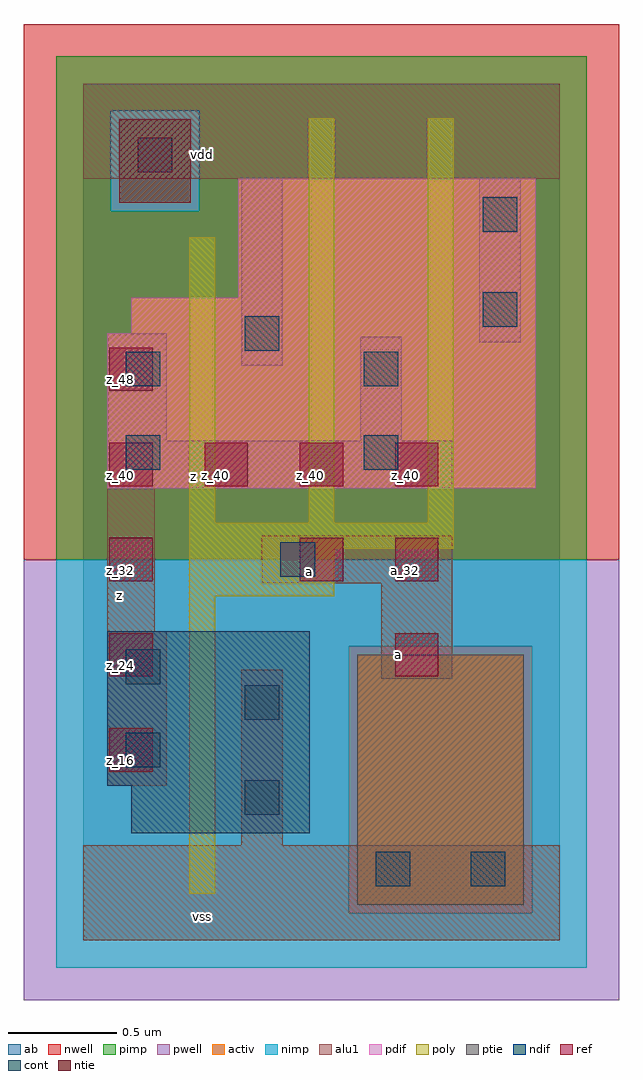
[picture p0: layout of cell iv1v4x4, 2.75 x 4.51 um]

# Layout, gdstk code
import gdstk
lib = gdstk.Library(unit=1e-6, precision=2.5e-09)
def R(c, l, rs):  # rectangles x0, y0, x1, y1
    for r in rs: c.add(gdstk.rectangle(r[:2], r[2:], *l))
def A(c, l, x, y, w, h, nx, ny, dx, dy):  # array of equal rectangles
    R(c, l, [(x+i*dx, y+j*dy, x+i*dx+w, y+j*dy+h) for i in range(nx) for j in range(ny)])
ndif = (3, 0)
pdif = (4, 0)
ntie = (5, 0)
ptie = (6, 0)
ref = (24, 0)
cont = (25, 0)
pwell = (41, 0)
nwell = (42, 0)
activ = (43, 0)
pimp = (44, 0)
nimp = (45, 0)
poly = (46, 0)
alu1 = (49, 0)
ab = (63, 0)

iv1v4x4 = lib.new_cell('iv1v4x4')
R(iv1v4x4, ndif, [(0.22,0.495,1.045,0.715), (0.11,0.715,1.045,1.43)])
R(iv1v4x4, pdif, [(0.11,2.09,2.09,2.805), (0.22,2.805,2.09,2.97), (0.715,2.97,2.09,3.52)])
R(iv1v4x4, ntie, [(0.165,3.41,0.495,3.795)])
R(iv1v4x4, ptie, [(1.265,0.165,2.035,1.32)])
A(iv1v4x4, ref, 0.12, 0.78, 0.2, 0.2, 1, 3, 0, 0.44)
A(iv1v4x4, ref, 0.12, 2.1, 0.2, 0.2, 4, 1, 0.44, 0)
R(iv1v4x4, ref, [(1.44,1.22,1.64,1.42), (1,1.66,1.2,1.86), (1.44,1.66,1.64,1.86), (0.12,2.54,0.32,2.74)])
R(iv1v4x4, cont, [(1.35,0.25,1.51,0.41), (1.79,0.25,1.95,0.41), (0.745,0.58,0.905,0.74), (0.195,0.8,0.355,0.96), (0.745,1.02,0.905,1.18), (0.195,1.185,0.355,1.345), (0.91,1.68,1.07,1.84), (0.195,2.175,0.355,2.335), (1.295,2.175,1.455,2.335), (0.195,2.56,0.355,2.72), (1.295,2.56,1.455,2.72), (0.745,2.725,0.905,2.885), (1.845,2.835,2.005,2.995), (1.845,3.275,2.005,3.435), (0.25,3.55,0.41,3.71)])
R(iv1v4x4, pwell, [(-0.275,-0.275,2.475,1.76)])
R(iv1v4x4, nwell, [(-0.275,1.76,2.475,4.235)])
R(iv1v4x4, activ, [(1.265,0.165,2.035,1.32), (0.22,0.495,1.045,0.715), (0.11,0.715,1.045,1.43), (0.11,2.09,2.09,2.805), (0.22,2.805,2.09,2.97), (0.715,2.97,2.09,3.52), (0.165,3.41,0.495,3.795)])
R(iv1v4x4, pimp, [(1.225,0.125,2.075,1.36), (-0.125,1.76,2.325,3.37), (-0.125,3.37,0.125,3.835), (0.535,3.37,2.325,3.835), (-0.125,3.835,2.325,4.085)])
R(iv1v4x4, nimp, [(-0.125,-0.125,2.325,0.125), (-0.125,0.125,1.225,1.36), (2.075,0.125,2.325,1.36), (-0.125,1.36,2.325,1.76), (0.125,3.37,0.535,3.835)])
R(iv1v4x4, poly, [(0.49,0.215,0.61,1.59), (0.49,1.59,1.16,1.81), (0.49,1.81,1.71,1.93), (0.49,1.93,0.61,3.25), (1.04,1.93,1.16,3.8), (1.59,1.93,1.71,3.8)])
R(iv1v4x4, alu1, [(0,0,2.2,0.44), (0.73,0.44,0.92,1.25), (0.11,0.715,0.385,1.43), (1.375,1.21,1.705,1.65), (0.11,1.43,0.33,2.09), (0.825,1.65,1.705,1.87), (0.11,2.09,1.705,2.31), (0.11,2.31,0.385,2.805), (1.28,2.31,1.47,2.79), (0.73,2.655,0.92,3.52), (1.83,2.765,2.02,3.52), (0,3.52,2.2,3.96)])
R(iv1v4x4, ab, [(0,0,2.2,3.96)])
iv1v4x4.add(gdstk.Label('vss', (0.55,0.11), layer=49, texttype=0))
iv1v4x4.add(gdstk.Label('a', (1.4575,1.32), layer=49, texttype=0))
iv1v4x4.add(gdstk.Label('a', (1.045,1.705), layer=49, texttype=0))
iv1v4x4.add(gdstk.Label('z', (0.165,1.595), layer=49, texttype=0))
iv1v4x4.add(gdstk.Label('z', (0.5075,2.145), layer=49, texttype=0))
iv1v4x4.add(gdstk.Label('vdd', (0.55,3.63), layer=49, texttype=0))
iv1v4x4.add(gdstk.Label('z_40', (0.61,2.15), layer=24, texttype=0))
iv1v4x4.add(gdstk.Label('a_32', (1.05,1.71), layer=24, texttype=0))
iv1v4x4.add(gdstk.Label('z_40', (1.05,2.15), layer=24, texttype=0))
iv1v4x4.add(gdstk.Label('a_24', (1.49,1.27), layer=24, texttype=0))
iv1v4x4.add(gdstk.Label('a_32', (1.49,1.71), layer=24, texttype=0))
iv1v4x4.add(gdstk.Label('z_40', (1.49,2.15), layer=24, texttype=0))
iv1v4x4.add(gdstk.Label('z_16', (0.17,0.83), layer=24, texttype=0))
iv1v4x4.add(gdstk.Label('z_24', (0.17,1.27), layer=24, texttype=0))
iv1v4x4.add(gdstk.Label('z_32', (0.17,1.71), layer=24, texttype=0))
iv1v4x4.add(gdstk.Label('z_40', (0.17,2.15), layer=24, texttype=0))
iv1v4x4.add(gdstk.Label('z_48', (0.17,2.59), layer=24, texttype=0))

lib.write_gds('iv1v4x4.gds')
